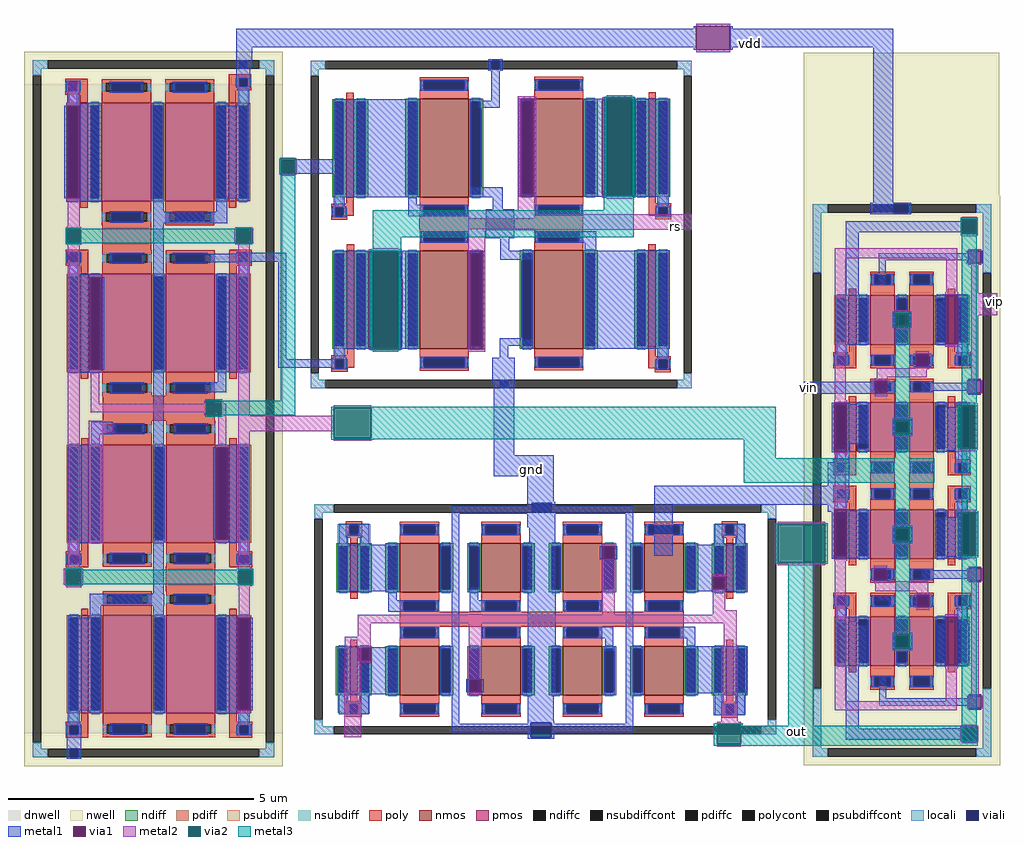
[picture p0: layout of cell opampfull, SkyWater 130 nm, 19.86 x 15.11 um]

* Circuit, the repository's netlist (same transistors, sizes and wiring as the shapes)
** sch_path: /home/deboradmk/opamp/mag/opampfull.sch
.subckt opampfull VDD VIN VIP OUT RS GND
*.PININFO VDD:B VIN:B VIP:B OUT:B RS:B GND:B
x1 VDD net3 net1 net2 pmoscs
x2 net2 net1 RS GND nmoscs
x3 VDD net3 VIN VIP OUT net4 pmoscs2
x4 OUT net4 GND nmoscs2
.ends

* expanding   symbol:  pmoscs.sym # of pins=4
** sym_path: /home/deboradmk/opamp/mag/pmoscs.sym
** sch_path: /home/deboradmk/opamp/mag/pmoscs.sch
.subckt pmoscs VDD D5 D1 D2
*.PININFO VDD:B D5:B D2:B D1:B
XM1 D1 D2 VDD VDD sky130_fd_pr__pfet_01v8 L=1 W=2 nf=1 m=2
XM2 D2 D2 VDD VDD sky130_fd_pr__pfet_01v8 L=1 W=2 nf=1 m=2
XM5 D5 D2 VDD VDD sky130_fd_pr__pfet_01v8 L=1 W=2 nf=1 m=2
XM3 VDD VDD VDD VDD sky130_fd_pr__pfet_01v8 L=1 W=2 nf=1 m=2
XM4 VDD VDD VDD VDD sky130_fd_pr__pfet_01v8 L=0.15 W=2 nf=1 m=2
XM6 D2 D2 D2 VDD sky130_fd_pr__pfet_01v8 L=0.15 W=2 nf=1 m=2
XM7 D1 D1 D1 VDD sky130_fd_pr__pfet_01v8 L=0.15 W=2 nf=1 m=2
XM8 D5 D5 D5 VDD sky130_fd_pr__pfet_01v8 L=0.15 W=2 nf=1 m=2
.ends


* expanding   symbol:  nmoscs.sym # of pins=4
** sym_path: /home/deboradmk/opamp/mag/nmoscs.sym
** sch_path: /home/deboradmk/opamp/mag/nmoscs.sch
.subckt nmoscs D4 D3 RS GND
*.PININFO RS:B D4:B D3:B GND:B
XM3 D3 D3 GND GND sky130_fd_pr__nfet_01v8 L=1 W=2 nf=1 m=2
XM4 D4 D3 RS GND sky130_fd_pr__nfet_01v8 L=1 W=2 nf=1 m=2
XM1 D3 D3 D3 GND sky130_fd_pr__nfet_01v8 L=0.15 W=2 nf=1 m=2
XM2 D4 D4 D4 GND sky130_fd_pr__nfet_01v8 L=0.15 W=2 nf=1 m=2
.ends


* expanding   symbol:  pmoscs2.sym # of pins=6
** sym_path: /home/deboradmk/opamp/mag/pmoscs2.sym
** sch_path: /home/deboradmk/opamp/mag/pmoscs2.sch
.subckt pmoscs2 VDD D5 VIN VIP OUT D6
*.PININFO VIN:I VIP:I D5:B VDD:B D6:B OUT:B
XM6 D6 VIN D5 VDD sky130_fd_pr__pfet_01v8 L=0.5 W=1 nf=1 m=4
XM7 OUT VIP D5 VDD sky130_fd_pr__pfet_01v8 L=0.5 W=1 nf=1 m=4
XM1 D6 D6 D6 VDD sky130_fd_pr__pfet_01v8 L=0.15 W=1 nf=1 m=4
XM2 OUT OUT OUT VDD sky130_fd_pr__pfet_01v8 L=0.15 W=1 nf=1 m=4
.ends


* expanding   symbol:  nmoscs2.sym # of pins=3
** sym_path: /home/deboradmk/opamp/mag/nmoscs2.sym
** sch_path: /home/deboradmk/opamp/mag/nmoscs2.sch
.subckt nmoscs2 D9 D8 GND
*.PININFO GND:B D9:B D8:B
XM8 D8 D8 GND GND sky130_fd_pr__nfet_01v8 L=0.8 W=1 nf=1 m=4
XM9 D9 D8 GND GND sky130_fd_pr__nfet_01v8 L=0.8 W=1 nf=1 m=4
XM1 D8 D8 D8 GND sky130_fd_pr__nfet_01v8 L=0.15 W=1 nf=1 m=2
XM2 D9 D9 D9 GND sky130_fd_pr__nfet_01v8 L=0.15 W=1 nf=1 m=2
.ends

.end

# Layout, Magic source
magic
tech sky130A
magscale 1 2
<< nwell >>
rect 10244 2218 11038 5118
<< metal1 >>
rect 9795 5216 9805 5225
rect 7933 5139 9805 5216
rect 7933 5054 7999 5139
rect 9795 5130 9805 5139
rect 9944 5216 9954 5225
rect 9944 5139 10608 5216
rect 9944 5130 9954 5139
rect 7933 5052 7967 5054
rect 8114 4684 8174 4690
rect 8174 4624 8428 4684
rect 8114 4618 8174 4624
rect 10527 4467 10608 5139
rect 10560 4464 10608 4467
rect 7946 4300 8138 4303
rect 7812 4267 8138 4300
rect 7812 4264 7996 4267
rect 8104 3871 8138 4267
rect 8104 3835 8335 3871
rect 8975 3768 9067 3876
rect 8981 3479 9066 3768
rect 10244 3730 10614 3778
rect 8981 3394 9225 3479
rect 10410 3451 10429 3497
rect 9118 3187 9225 3394
rect 10340 3387 10429 3451
rect 10341 3355 10429 3387
rect 9634 3317 10429 3355
rect 9634 3278 10415 3317
rect 9140 3154 9194 3187
rect 9634 3071 9711 3278
rect 10341 3250 10415 3278
<< via1 >>
rect 9805 5130 9944 5225
rect 8114 4624 8174 4684
<< metal2 >>
rect 9805 5225 9944 5235
rect 9805 5120 9944 5130
rect 8116 4684 8172 4691
rect 8108 4624 8114 4684
rect 8174 4624 8180 4684
rect 8116 4617 8172 4624
rect 9090 4398 9788 4460
rect 10928 4049 11030 4139
rect 7803 3642 7812 3702
rect 7872 3642 7881 3702
rect 8330 3672 8484 3682
rect 7334 3604 7392 3620
rect 7334 3568 7434 3604
rect 7944 3576 8330 3640
rect 7334 3122 7392 3568
rect 8330 3538 8484 3548
rect 10138 3198 10330 3208
rect 10138 3032 10330 3042
rect 9872 2796 9970 2848
rect 8375 2610 8443 2741
rect 9918 2702 9970 2796
rect 8374 2332 8443 2610
rect 9907 2394 9975 2702
rect 9892 2384 9986 2394
rect 9892 2294 9986 2304
<< via2 >>
rect 8116 4626 8172 4682
rect 7812 3642 7872 3702
rect 8330 3548 8484 3672
rect 10138 3042 10330 3198
rect 9892 2304 9986 2384
<< metal3 >>
rect 8111 4682 8177 4687
rect 8111 4626 8116 4682
rect 8172 4626 8177 4682
rect 8111 4621 8177 4626
rect 7807 3702 7877 3707
rect 8114 3702 8174 4621
rect 8505 4444 8575 4449
rect 8505 4384 8510 4444
rect 8570 4384 8575 4444
rect 8505 4379 8575 4384
rect 7807 3642 7812 3702
rect 7872 3642 8174 3702
rect 8320 3672 10129 3677
rect 7807 3637 7877 3642
rect 8320 3548 8330 3672
rect 8484 3548 10129 3672
rect 8320 3544 10129 3548
rect 8320 3543 8494 3544
rect 10000 3468 10129 3544
rect 9999 3367 10775 3468
rect 10128 3198 10340 3203
rect 10128 3042 10138 3198
rect 10330 3042 10340 3198
rect 10128 3037 10340 3042
rect 9882 2387 9996 2389
rect 9877 2384 9996 2387
rect 9877 2304 9892 2384
rect 9986 2378 9996 2384
rect 10181 2378 10285 3037
rect 9986 2304 10952 2378
rect 9877 2297 10952 2304
use nmoscs2  nmoscs2_0
transform 1 0 8541 0 1 2415
box -290 -89 1590 876
use nmoscs  nmoscs_0
transform 1 0 8622 0 1 3824
box -386 -78 1166 1266
use pmoscs2  pmoscs2_0
transform 1 0 10420 0 1 2522
box -176 -305 622 2014
use pmoscs  pmoscs_0
transform 1 0 7256 0 1 3509
box -186 -1295 868 1613
<< labels >>
flabel metal1 10025 5154 10025 5154 0 FreeSans 1120 0 0 0 vdd
port 0 nsew
flabel metal2 11019 4107 11019 4107 0 FreeSans 1120 0 0 0 vip
port 1 nsew
flabel metal2 9723 4411 9723 4411 0 FreeSans 1120 0 0 0 rs
port 2 nsew
flabel metal1 10263 3755 10263 3755 0 FreeSans 1120 0 0 0 vin
port 3 nsew
flabel metal3 10214 2354 10214 2354 0 FreeSans 1120 0 0 0 out
port 4 nsew
flabel metal1 9137 3420 9137 3420 0 FreeSans 1120 0 0 0 gnd
port 5 nsew
<< end >>

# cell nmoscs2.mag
magic
tech sky130A
magscale 1 2
<< psubdiff >>
rect -290 831 -211 865
rect 1530 831 1590 865
rect -290 805 -256 831
rect 1556 805 1590 831
rect -290 -38 -256 -12
rect 1556 -38 1590 -12
rect -290 -72 -211 -38
rect 1530 -72 1590 -38
<< psubdiffcont >>
rect -211 831 1530 865
rect -290 -12 -256 805
rect 1556 -12 1590 805
rect -211 -72 1530 -38
<< poly >>
rect -161 779 -95 795
rect -161 745 -145 779
rect -111 745 -95 779
rect -161 729 -95 745
rect 1368 779 1434 795
rect 1368 745 1384 779
rect 1418 745 1434 779
rect 1368 729 1434 745
rect 1386 706 1416 729
rect 58 366 1214 428
rect -144 66 -114 106
rect -162 50 -96 66
rect 1386 62 1416 88
rect -162 16 -146 50
rect -112 16 -96 50
rect -162 0 -96 16
rect 1368 46 1434 62
rect 1368 12 1384 46
rect 1418 12 1434 46
rect 1368 -4 1434 12
<< polycont >>
rect -145 745 -111 779
rect 1384 745 1418 779
rect -146 16 -112 50
rect 1384 12 1418 46
<< locali >>
rect -290 831 -211 865
rect 1530 831 1590 865
rect -290 805 -256 831
rect 1556 805 1590 831
rect -194 782 -152 784
rect -104 782 -62 784
rect -194 779 -62 782
rect -194 745 -145 779
rect -111 745 -62 779
rect -194 734 -62 745
rect -194 690 -152 734
rect -104 690 -62 734
rect 1336 779 1466 784
rect 1336 745 1384 779
rect 1418 745 1466 779
rect 1336 736 1466 745
rect 1336 690 1378 736
rect 1424 690 1466 736
rect -194 64 -152 110
rect -106 64 -64 106
rect -194 50 -64 64
rect -194 16 -146 50
rect -112 16 -64 50
rect -106 12 -64 16
rect 1334 54 1376 100
rect 1424 54 1466 102
rect 1334 46 1466 54
rect 1334 12 1384 46
rect 1418 12 1466 46
rect 1334 8 1466 12
rect 1334 6 1438 8
rect -290 -38 -256 -12
rect 1556 -38 1590 -12
rect -290 -72 -211 -38
rect 1530 -72 1590 -38
<< viali >>
rect 595 865 676 870
rect 595 832 676 865
rect -145 745 -111 779
rect 1384 745 1418 779
rect -146 16 -112 50
rect 1384 12 1418 46
rect 591 -38 674 -25
rect 591 -72 674 -38
rect 591 -83 674 -72
<< metal1 >>
rect 583 870 690 876
rect 583 859 595 870
rect 270 832 595 859
rect 676 859 690 870
rect 676 832 1008 859
rect 270 826 1008 832
rect -189 779 -67 785
rect -189 745 -145 779
rect -111 745 -67 779
rect -189 739 -67 745
rect -189 700 -155 739
rect -101 700 -67 739
rect -194 510 52 700
rect 12 474 46 510
rect 12 428 74 474
rect -102 282 -68 292
rect -194 281 52 282
rect -194 229 -112 281
rect -60 229 52 281
rect -194 92 52 229
rect -190 56 -156 92
rect -102 56 -68 92
rect -190 50 -68 56
rect -190 16 -146 50
rect -112 16 -68 50
rect -190 10 -68 16
rect 270 -29 300 826
rect 585 706 690 826
rect 344 474 378 525
rect 344 428 406 474
rect 328 100 338 152
rect 390 100 400 152
rect 579 100 693 706
rect 872 642 882 694
rect 934 642 944 694
rect 865 320 928 366
rect 894 268 928 320
rect 579 -19 685 100
rect 579 -25 686 -19
rect 579 -29 591 -25
rect 270 -62 591 -29
rect 579 -83 591 -62
rect 674 -29 686 -25
rect 977 -28 1008 826
rect 1340 779 1462 785
rect 1340 745 1384 779
rect 1418 745 1462 779
rect 1340 739 1462 745
rect 1340 706 1374 739
rect 1428 706 1462 739
rect 1220 570 1466 700
rect 1220 518 1331 570
rect 1383 518 1466 570
rect 1220 510 1466 518
rect 1340 502 1374 510
rect 1197 320 1260 366
rect 1226 286 1260 320
rect 1224 96 1470 286
rect 1340 52 1374 88
rect 1428 52 1462 88
rect 1340 46 1462 52
rect 1340 12 1384 46
rect 1418 12 1462 46
rect 1340 6 1462 12
rect 969 -29 1008 -28
rect 674 -62 1008 -29
rect 674 -83 686 -62
rect 579 -89 686 -83
<< via1 >>
rect -112 229 -60 281
rect 338 100 390 152
rect 882 642 934 694
rect 1331 518 1383 570
<< metal2 >>
rect 882 694 934 704
rect 339 416 391 417
rect 882 416 934 642
rect 1331 570 1383 580
rect 1331 416 1383 518
rect -112 381 1383 416
rect -112 281 -60 381
rect -112 219 -60 229
rect 339 162 391 381
rect 338 153 391 162
rect 338 152 390 153
rect 338 90 390 100
use sky130_fd_pr__nfet_01v8_6H9P4D  sky130_fd_pr__nfet_01v8_6H9P4D_0
transform 1 0 1401 0 1 188
box -73 -126 73 126
use sky130_fd_pr__nfet_01v8_6H9P4D  sky130_fd_pr__nfet_01v8_6H9P4D_1
transform 1 0 -129 0 1 188
box -73 -126 73 126
use sky130_fd_pr__nfet_01v8_6H9P4D  sky130_fd_pr__nfet_01v8_6H9P4D_2
transform 1 0 -128 0 1 606
box -73 -126 73 126
use sky130_fd_pr__nfet_01v8_6H9P4D  sky130_fd_pr__nfet_01v8_6H9P4D_3
transform 1 0 1401 0 1 606
box -73 -126 73 126
use sky130_fd_pr__nfet_01v8_C77M8X  sky130_fd_pr__nfet_01v8_C77M8X_0
transform 1 0 636 0 1 397
box -636 -397 636 397
<< labels >>
flabel space 137 611 137 611 0 FreeSans 320 0 0 0 m8
flabel space 471 600 471 602 0 FreeSans 320 0 0 0 m8
flabel space 788 599 788 599 0 FreeSans 320 0 0 0 m9
flabel space 1124 605 1124 605 0 FreeSans 320 0 0 0 m9
flabel space 137 196 137 196 0 FreeSans 320 0 0 0 m9
flabel space 464 184 464 184 0 FreeSans 320 0 0 0 m9
flabel space 802 180 802 180 0 FreeSans 320 0 0 0 m8
flabel space 1136 182 1136 182 0 FreeSans 320 0 0 0 m8
flabel metal1 25 607 25 607 0 FreeSans 320 0 0 0 d8
flabel space 364 607 364 607 0 FreeSans 320 0 0 0 d8
flabel space 577 603 577 603 0 FreeSans 320 0 0 0 s
flabel metal1 690 603 690 603 0 FreeSans 320 0 0 0 s
flabel space 1027 603 1027 603 0 FreeSans 320 0 0 0 s
flabel space 244 605 244 605 0 FreeSans 320 0 0 0 s
flabel metal1 1244 601 1244 601 0 FreeSans 320 0 0 0 d9
flabel metal1 23 188 23 188 0 FreeSans 320 0 0 0 d9
flabel space 915 184 915 184 0 FreeSans 320 0 0 0 d8
flabel space 1025 184 1025 184 0 FreeSans 320 0 0 0 s
flabel space 575 186 575 186 0 FreeSans 320 0 0 0 s
flabel metal1 690 184 690 184 0 FreeSans 320 0 0 0 s
flabel space 248 186 248 186 0 FreeSans 320 0 0 0 s
flabel metal1 1243 187 1243 187 0 FreeSans 320 0 0 0 d8
flabel metal1 1297 210 1297 210 0 FreeSans 1120 0 0 0 d8
port 1 nsew
flabel metal1 1295 609 1295 609 0 FreeSans 1120 0 0 0 d9
port 2 nsew
flabel metal1 638 761 638 761 0 FreeSans 1120 0 0 0 gnd
port 4 nsew
flabel metal2 360 188 360 188 0 FreeSans 320 0 0 0 d9
<< end >>

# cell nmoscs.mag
magic
tech sky130A
magscale 1 2
<< psubdiff >>
rect -386 1226 -326 1260
rect 1106 1226 1166 1260
rect -386 1200 -352 1226
rect 1132 1200 1166 1226
rect -386 -38 -352 -12
rect 1132 -38 1166 -12
rect -386 -72 -326 -38
rect 1106 -72 1166 -38
<< psubdiffcont >>
rect -326 1226 1106 1260
rect -386 -12 -352 1200
rect 1132 -12 1166 1200
rect -326 -72 1106 -38
<< poly >>
rect -240 679 -210 705
rect -302 663 -210 679
rect -302 629 -286 663
rect -252 629 -210 663
rect 990 681 1020 707
rect 990 665 1082 681
rect 990 631 1032 665
rect 1066 631 1082 665
rect -302 613 -236 629
rect 57 576 724 619
rect 1016 615 1082 631
rect -239 62 -209 88
rect -301 46 -209 62
rect -301 12 -285 46
rect -251 12 -209 46
rect 989 59 1019 101
rect 989 43 1081 59
rect -301 -4 -235 12
rect 989 9 1031 43
rect 1065 9 1081 43
rect 1015 -7 1081 9
<< polycont >>
rect -286 629 -252 663
rect 1032 631 1066 665
rect -285 12 -251 46
rect 1031 9 1065 43
<< locali >>
rect -386 1226 -326 1260
rect 1106 1226 1166 1260
rect -386 1200 -352 1226
rect 1132 1200 1166 1226
rect -286 663 -252 722
rect 1032 665 1066 723
rect -302 629 -286 663
rect -252 629 -236 663
rect 1016 631 1032 665
rect 1066 631 1082 665
rect 1032 630 1066 631
rect -285 46 -251 104
rect -301 12 -285 46
rect -251 12 -235 46
rect 1031 43 1065 106
rect 1015 9 1031 43
rect 1065 9 1081 43
rect -386 -38 -352 -12
rect 1132 -38 1166 -12
rect -386 -72 -326 -38
rect 1106 -72 1166 -38
<< viali >>
rect 350 1226 384 1260
rect -286 629 -252 663
rect 1032 631 1066 665
rect -285 12 -251 46
rect 1031 9 1065 43
rect 384 -72 418 -38
<< metal1 >>
rect 338 1260 396 1266
rect 338 1226 350 1260
rect 384 1226 396 1260
rect 338 1220 396 1226
rect -292 706 52 1105
rect 350 1097 384 1220
rect 297 1069 384 1097
rect -292 669 -246 706
rect 12 674 46 706
rect 264 705 396 746
rect 459 707 469 1107
rect 523 707 533 1107
rect 730 1103 1074 1106
rect 730 714 802 1103
rect 936 714 1074 1103
rect 730 707 1074 714
rect -298 663 -240 669
rect -298 629 -286 663
rect -252 629 -240 663
rect -298 623 -240 629
rect 12 628 74 674
rect 355 656 396 705
rect 1026 671 1072 707
rect 1020 665 1078 671
rect 328 538 444 656
rect 1020 631 1032 665
rect 1066 631 1078 665
rect 1020 625 1078 631
rect 386 487 423 538
rect 702 521 776 567
rect 730 488 776 521
rect -291 484 53 487
rect -291 95 -148 484
rect -14 375 53 484
rect -13 242 53 375
rect -14 95 53 242
rect -291 88 53 95
rect -291 52 -245 88
rect 252 87 262 487
rect 316 87 326 487
rect 386 450 518 487
rect 384 128 477 131
rect 384 101 512 128
rect -297 46 -239 52
rect -297 12 -285 46
rect -251 12 -239 46
rect -297 6 -239 12
rect 384 -32 418 101
rect 730 89 1074 488
rect 1025 49 1071 89
rect 1019 43 1077 49
rect 1019 9 1031 43
rect 1065 9 1077 43
rect 1019 3 1077 9
rect 372 -38 430 -32
rect 372 -72 384 -38
rect 418 -72 430 -38
rect 372 -78 430 -72
<< via1 >>
rect 469 707 523 1107
rect 802 714 936 1103
rect -148 375 -14 484
rect -148 242 -13 375
rect -148 95 -14 242
rect 262 87 316 487
<< metal2 >>
rect 458 1114 523 1117
rect 458 1107 533 1114
rect 819 1113 923 1120
rect 458 707 469 1107
rect 523 707 533 1107
rect 458 652 533 707
rect 802 1110 936 1113
rect 802 1103 819 1110
rect 923 1103 936 1110
rect 802 710 819 714
rect 923 710 936 714
rect 802 704 936 710
rect 819 700 923 704
rect 255 570 534 652
rect -132 494 -28 497
rect -148 487 -14 494
rect -148 484 -132 487
rect -28 484 -14 487
rect 256 487 326 570
rect -14 375 -13 385
rect -14 232 -13 242
rect -148 87 -132 95
rect -28 87 -14 95
rect -148 85 -14 87
rect 256 87 262 487
rect 316 87 326 487
rect -132 77 -28 85
rect 256 79 326 87
rect 262 77 326 79
<< via2 >>
rect 819 1103 923 1110
rect 819 714 923 1103
rect 819 710 923 714
rect -132 484 -28 487
rect -132 95 -28 484
rect -132 87 -28 95
<< metal3 >>
rect 809 1110 933 1115
rect 809 732 819 1110
rect 808 710 819 732
rect 923 710 933 1110
rect 808 705 933 710
rect 808 653 930 705
rect -133 543 930 653
rect -133 492 -17 543
rect -142 487 -17 492
rect -142 87 -132 487
rect -28 468 -17 487
rect -28 87 -18 468
rect -142 82 -18 87
use sky130_fd_pr__nfet_01v8_4HFSKE  sky130_fd_pr__nfet_01v8_4HFSKE_0
transform 1 0 -225 0 1 905
box -73 -226 73 226
use sky130_fd_pr__nfet_01v8_4HFSKE  sky130_fd_pr__nfet_01v8_4HFSKE_1
transform 1 0 1005 0 1 907
box -73 -226 73 226
use sky130_fd_pr__nfet_01v8_4HFSKE  sky130_fd_pr__nfet_01v8_4HFSKE_2
transform 1 0 1004 0 1 289
box -73 -226 73 226
use sky130_fd_pr__nfet_01v8_4HFSKE  sky130_fd_pr__nfet_01v8_4HFSKE_3
transform 1 0 -224 0 1 288
box -73 -226 73 226
use sky130_fd_pr__nfet_01v8_ZY4669  sky130_fd_pr__nfet_01v8_ZY4669_0
transform 1 0 624 0 1 598
box -158 -597 158 597
use sky130_fd_pr__nfet_01v8_ZY4669  sky130_fd_pr__nfet_01v8_ZY4669_1
transform 1 0 158 0 1 597
box -158 -597 158 597
<< labels >>
flabel metal1 364 1173 364 1173 0 FreeSans 800 0 0 0 GND
port 0 nsew
flabel metal1 27 684 27 684 0 FreeSans 800 0 0 0 D3
port 1 nsew
flabel metal3 859 659 859 659 0 FreeSans 800 0 0 0 D4
port 3 nsew
flabel metal2 498 678 498 678 0 FreeSans 800 0 0 0 RS
port 5 nsew
<< end >>

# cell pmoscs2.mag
magic
tech sky130A
magscale 1 2
<< nwell >>
rect -176 -305 622 2014
<< pmos >>
rect 410 1408 440 1410
rect 410 972 440 974
<< pdiff >>
rect 401 1408 410 1410
rect 440 1408 498 1410
rect 404 972 410 974
rect 440 972 498 974
<< nsubdiff >>
rect -140 1944 -80 1978
rect 526 1944 586 1978
rect -140 1701 -106 1944
rect 552 1701 586 1944
rect -140 -235 -106 7
rect 552 -235 586 7
rect -140 -269 -80 -235
rect 526 -269 586 -235
<< nsubdiffcont >>
rect -80 1944 526 1978
rect -140 7 -106 1701
rect 552 7 586 1701
rect -80 -269 526 -235
<< poly >>
rect 6 1377 36 1408
rect -56 1361 36 1377
rect -56 1327 -40 1361
rect -6 1327 36 1361
rect -56 1311 36 1327
rect 410 1377 440 1408
rect 410 1361 502 1377
rect 410 1327 452 1361
rect 486 1327 502 1361
rect 410 1311 502 1327
rect 6 941 36 970
rect -56 925 36 941
rect -56 891 -40 925
rect -6 891 36 925
rect 410 941 440 972
rect 410 925 502 941
rect -56 875 36 891
rect -56 817 36 833
rect 94 817 194 891
rect 253 818 353 892
rect 410 891 452 925
rect 486 891 502 925
rect 410 875 502 891
rect 410 817 502 833
rect -56 783 -40 817
rect -6 783 36 817
rect -56 767 36 783
rect 6 736 36 767
rect 410 783 452 817
rect 486 783 502 817
rect 410 767 502 783
rect 410 736 440 767
rect -56 382 36 398
rect -56 348 -40 382
rect -6 348 36 382
rect -56 332 36 348
rect 6 279 36 332
rect 410 381 502 397
rect 410 347 452 381
rect 486 347 502 381
rect 410 331 502 347
rect 410 279 440 331
<< polycont >>
rect -40 1327 -6 1361
rect 452 1327 486 1361
rect -40 891 -6 925
rect 452 891 486 925
rect -40 783 -6 817
rect 452 783 486 817
rect -40 348 -6 382
rect 452 347 486 381
<< locali >>
rect -140 1944 -80 1978
rect 526 1944 586 1978
rect -140 1701 -106 1944
rect 552 1701 586 1944
rect 452 1569 486 1610
rect -40 1406 -6 1408
rect -41 1361 -6 1406
rect 48 1404 49 1408
rect 452 1406 486 1410
rect 452 1361 487 1406
rect -56 1327 -40 1361
rect -6 1327 10 1361
rect 436 1327 452 1361
rect 486 1327 502 1361
rect 452 1134 486 1170
rect -40 970 -6 997
rect -41 925 -6 970
rect 48 969 54 971
rect 452 970 486 974
rect 452 925 487 970
rect -56 891 -40 925
rect -6 891 10 925
rect 436 891 452 925
rect 486 891 502 925
rect -56 783 -40 817
rect -6 783 10 817
rect 436 783 452 817
rect 486 783 502 817
rect -41 700 -6 783
rect 452 736 486 783
rect -56 348 -40 382
rect -6 348 10 382
rect -40 277 -6 348
rect 436 347 452 381
rect 486 347 502 381
rect 452 256 486 347
rect -140 -235 -106 7
rect 552 -235 586 7
rect -140 -269 -80 -235
rect 526 -269 586 -235
<< viali >>
rect 106 1978 248 1979
rect 106 1944 248 1978
rect -40 1327 -6 1361
rect 452 1327 486 1361
rect -40 891 -6 925
rect 452 891 486 925
rect -40 783 -6 817
rect 452 783 486 817
rect -40 348 -6 382
rect 452 347 486 381
<< metal1 >>
rect 94 1979 260 1985
rect 94 1944 106 1979
rect 248 1944 260 1979
rect 94 1938 260 1944
rect 471 1914 523 1920
rect -5 1865 471 1910
rect -5 1607 47 1865
rect 471 1856 523 1862
rect 487 1779 493 1790
rect 129 1750 493 1779
rect 129 1657 158 1750
rect 487 1738 493 1750
rect 545 1738 551 1790
rect -45 1586 82 1607
rect -46 1426 82 1586
rect 390 1584 400 1610
rect 187 1483 197 1535
rect 249 1483 259 1535
rect -45 1408 82 1426
rect 366 1424 400 1584
rect 390 1409 400 1424
rect 452 1563 493 1610
rect 452 1424 492 1563
rect 452 1410 462 1424
rect 452 1409 493 1410
rect 401 1408 404 1409
rect -47 1407 82 1408
rect -47 1367 0 1407
rect -52 1361 6 1367
rect -52 1327 -40 1361
rect -6 1327 6 1361
rect -52 1321 6 1327
rect 270 1318 280 1370
rect 332 1318 342 1370
rect 446 1367 493 1409
rect 440 1361 498 1367
rect 440 1327 452 1361
rect 486 1327 498 1361
rect 440 1321 498 1327
rect 492 1262 544 1268
rect 102 1208 112 1260
rect 164 1208 174 1260
rect 302 1219 492 1253
rect 492 1204 544 1210
rect -62 970 -52 1171
rect 0 1164 10 1171
rect 0 1004 84 1164
rect 453 1159 463 1161
rect 445 1152 463 1159
rect 185 1042 195 1102
rect 255 1042 265 1102
rect 370 1064 463 1152
rect 0 970 10 1004
rect 362 984 463 1064
rect 522 984 532 1161
rect 362 976 500 984
rect -47 931 0 970
rect -52 925 6 931
rect -52 891 -40 925
rect -6 891 6 925
rect -52 885 6 891
rect 440 925 500 976
rect 440 891 452 925
rect 486 910 500 925
rect 486 891 498 910
rect 440 885 498 891
rect -52 817 6 823
rect -52 783 -40 817
rect -6 783 6 817
rect -52 777 6 783
rect 440 817 498 823
rect 440 783 452 817
rect 486 783 498 817
rect 440 777 498 783
rect -47 738 0 777
rect -62 537 -52 738
rect 0 732 10 738
rect 445 736 491 777
rect 0 538 80 732
rect 455 723 465 725
rect 450 704 465 723
rect 185 605 195 665
rect 255 605 265 665
rect 360 548 465 704
rect 524 548 534 725
rect 360 544 486 548
rect 0 537 10 538
rect 494 498 546 504
rect 100 446 110 498
rect 162 446 172 498
rect 303 455 494 489
rect 494 440 546 446
rect -52 382 6 388
rect -52 348 -40 382
rect -6 348 6 382
rect 118 367 194 381
rect -52 342 6 348
rect 169 347 194 367
rect -47 301 -1 342
rect 273 338 283 390
rect 335 338 345 390
rect 440 381 498 387
rect 440 347 452 381
rect 486 347 498 381
rect 440 341 498 347
rect 445 301 491 341
rect -47 264 47 301
rect 389 272 399 301
rect -47 259 78 264
rect -30 104 78 259
rect 185 169 195 229
rect 255 169 265 229
rect 368 112 399 272
rect -5 -155 47 104
rect 389 100 399 112
rect 451 272 491 301
rect 451 112 494 272
rect 451 100 461 112
rect 130 -32 160 53
rect 494 -21 546 -15
rect 130 -62 494 -32
rect 494 -79 546 -73
rect 467 -147 527 -141
rect 384 -155 467 -154
rect -5 -200 467 -155
rect -5 -201 47 -200
rect 467 -213 527 -207
<< via1 >>
rect 471 1862 523 1914
rect 493 1738 545 1790
rect 197 1483 249 1535
rect 400 1409 452 1610
rect 280 1318 332 1370
rect 112 1208 164 1260
rect 492 1210 544 1262
rect -52 970 0 1171
rect 195 1042 255 1102
rect 463 984 522 1161
rect -52 537 0 738
rect 195 605 255 665
rect 465 548 524 725
rect 110 446 162 498
rect 494 446 546 498
rect 283 338 335 390
rect 195 169 255 229
rect 399 100 451 301
rect 494 -73 546 -21
rect 467 -207 527 -147
<< metal2 >>
rect 467 1918 527 1927
rect 465 1862 467 1914
rect 527 1862 529 1914
rect 467 1849 527 1858
rect -51 1759 448 1799
rect -51 1702 -6 1759
rect -51 1181 -5 1702
rect 403 1620 448 1759
rect 493 1790 545 1796
rect 493 1732 545 1738
rect 400 1610 452 1620
rect 195 1537 251 1547
rect 195 1471 251 1481
rect 400 1399 452 1409
rect 280 1370 332 1380
rect 280 1311 332 1318
rect 120 1308 332 1311
rect 120 1275 323 1308
rect 120 1270 164 1275
rect 112 1260 164 1270
rect 504 1262 533 1732
rect 486 1210 492 1262
rect 544 1210 550 1262
rect 112 1198 164 1208
rect -52 1171 0 1181
rect 463 1161 522 1171
rect 195 1102 255 1112
rect 195 1032 255 1042
rect 463 974 522 984
rect -52 960 0 970
rect -51 748 -5 960
rect -52 738 0 748
rect 465 725 524 735
rect 195 665 255 675
rect 195 595 255 605
rect 465 538 524 548
rect -52 527 0 537
rect -51 -43 -5 527
rect 110 498 162 508
rect 488 446 494 498
rect 546 446 552 498
rect 110 445 162 446
rect 110 436 330 445
rect 115 404 330 436
rect 283 400 330 404
rect 283 390 335 400
rect 283 328 335 338
rect 399 301 451 311
rect 195 229 255 239
rect 195 159 255 169
rect 399 90 451 100
rect 401 -43 446 90
rect 505 -21 535 446
rect -51 -81 447 -43
rect 488 -73 494 -21
rect 546 -73 552 -21
rect 469 -147 525 -140
rect 461 -207 467 -147
rect 527 -207 533 -147
rect 469 -214 525 -207
<< via2 >>
rect 467 1914 527 1918
rect 467 1862 471 1914
rect 471 1862 523 1914
rect 523 1862 527 1914
rect 467 1858 527 1862
rect 195 1535 251 1537
rect 195 1483 197 1535
rect 197 1483 249 1535
rect 249 1483 251 1535
rect 195 1481 251 1483
rect 195 1042 255 1102
rect 463 984 522 1161
rect 195 605 255 665
rect 465 548 524 725
rect 195 169 255 229
rect 469 -205 525 -149
<< metal3 >>
rect 462 1918 532 1923
rect 462 1858 467 1918
rect 527 1858 532 1918
rect 462 1853 532 1858
rect 185 1537 261 1542
rect 185 1481 195 1537
rect 251 1481 261 1537
rect 185 1476 261 1481
rect 195 1107 255 1476
rect 467 1166 527 1853
rect 453 1161 532 1166
rect 185 1102 265 1107
rect 185 1042 195 1102
rect 255 1042 265 1102
rect 185 1037 265 1042
rect 195 670 255 1037
rect 453 984 463 1161
rect 522 984 532 1161
rect 453 979 532 984
rect 467 730 527 979
rect 455 725 534 730
rect 185 665 265 670
rect 185 605 195 665
rect 255 605 265 665
rect 185 600 265 605
rect 195 234 255 600
rect 455 548 465 725
rect 524 548 534 725
rect 455 543 534 548
rect 185 229 265 234
rect 185 169 195 229
rect 255 169 265 229
rect 185 164 265 169
rect 467 -144 527 543
rect 464 -149 530 -144
rect 464 -205 469 -149
rect 525 -205 530 -149
rect 464 -210 530 -205
use sky130_fd_pr__pfet_01v8_2XUZHN  sky130_fd_pr__pfet_01v8_2XUZHN_0
transform 1 0 425 0 1 200
box -109 -162 109 162
use sky130_fd_pr__pfet_01v8_2XUZHN  sky130_fd_pr__pfet_01v8_2XUZHN_1
transform 1 0 21 0 1 200
box -109 -162 109 162
use sky130_fd_pr__pfet_01v8_2XUZHN  sky130_fd_pr__pfet_01v8_2XUZHN_2
transform 1 0 21 0 1 636
box -109 -162 109 162
use sky130_fd_pr__pfet_01v8_2XUZHN  sky130_fd_pr__pfet_01v8_2XUZHN_3
transform 1 0 21 0 1 1072
box -109 -162 109 162
use sky130_fd_pr__pfet_01v8_2XUZHN  sky130_fd_pr__pfet_01v8_2XUZHN_4
transform 1 0 21 0 1 1508
box -109 -162 109 162
use sky130_fd_pr__pfet_01v8_2XUZHN  sky130_fd_pr__pfet_01v8_2XUZHN_5
transform 1 0 425 0 1 1508
box -109 -162 109 162
use sky130_fd_pr__pfet_01v8_2XUZHN  sky130_fd_pr__pfet_01v8_2XUZHN_6
transform 1 0 425 0 1 1072
box -109 -162 109 162
use sky130_fd_pr__pfet_01v8_2XUZHN  sky130_fd_pr__pfet_01v8_2XUZHN_7
transform 1 0 425 0 1 636
box -109 -162 109 162
use sky130_fd_pr__pfet_01v8_BHV229  sky130_fd_pr__pfet_01v8_BHV229_0
transform 1 0 223 0 1 854
box -223 -854 223 854
<< labels >>
flabel viali 198 1958 198 1958 0 FreeSans 800 0 0 0 VDD
port 0 nsew
flabel metal2 -30 1770 -30 1770 0 FreeSans 800 0 0 0 D6
port 4 nsew
flabel metal1 383 1236 383 1236 0 FreeSans 800 0 0 0 VIP
port 12 nsew
flabel metal2 149 418 149 418 0 FreeSans 800 0 0 0 VIN
port 14 nsew
flabel metal1 404 -176 406 -176 0 FreeSans 800 0 0 0 OUT
port 16 nsew
flabel metal3 222 1356 222 1356 0 FreeSans 800 0 0 0 D5
port 18 nsew
<< end >>

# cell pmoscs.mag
magic
tech sky130A
magscale 1 2
<< dnwell >>
rect -186 -1162 868 1480
<< nwell >>
rect -186 -1295 868 1613
<< nsubdiff >>
rect -150 1543 -90 1577
rect 772 1543 832 1577
rect -150 1517 -116 1543
rect 798 1517 832 1543
rect -150 -1225 -116 -1199
rect 798 -1225 832 -1199
rect -150 -1259 -90 -1225
rect 772 -1259 832 -1225
<< nsubdiffcont >>
rect -90 1543 772 1577
rect -150 -1199 -116 1517
rect 798 -1199 832 1517
rect -90 -1259 772 -1225
<< poly >>
rect 647 1505 739 1520
rect -19 1488 73 1503
rect -19 1454 -3 1488
rect 31 1454 73 1488
rect -19 1438 73 1454
rect 43 1404 73 1438
rect 647 1471 689 1505
rect 723 1471 739 1505
rect 647 1455 739 1471
rect 647 1404 677 1455
rect -17 792 75 807
rect 133 804 331 909
rect -17 758 -1 792
rect 33 758 75 792
rect -17 742 75 758
rect 45 708 75 742
rect 649 792 741 807
rect 649 758 691 792
rect 725 758 741 792
rect 649 742 741 758
rect 649 708 679 742
rect 134 111 591 213
rect 46 -420 76 -386
rect -16 -436 76 -420
rect -16 -470 0 -436
rect 34 -470 76 -436
rect -16 -485 76 -470
rect 650 -420 680 -386
rect 650 -436 742 -420
rect 650 -470 692 -436
rect 726 -470 742 -436
rect 391 -584 592 -482
rect 650 -485 742 -470
rect 46 -1115 76 -1084
rect -16 -1131 76 -1115
rect -16 -1165 0 -1131
rect 34 -1165 76 -1131
rect -16 -1180 76 -1165
rect 650 -1114 680 -1080
rect 650 -1130 742 -1114
rect 650 -1164 692 -1130
rect 726 -1164 742 -1130
rect 650 -1179 742 -1164
<< polycont >>
rect -3 1454 31 1488
rect 689 1471 723 1505
rect -1 758 33 792
rect 691 758 725 792
rect 0 -470 34 -436
rect 692 -470 726 -436
rect 0 -1165 34 -1131
rect 692 -1164 726 -1130
<< locali >>
rect -150 1543 -90 1577
rect 772 1543 832 1577
rect -150 1517 -116 1543
rect 798 1517 832 1543
rect -19 1454 -3 1488
rect 31 1454 47 1488
rect 673 1471 689 1505
rect 723 1471 739 1505
rect -4 1403 31 1454
rect -3 1400 31 1403
rect 689 1388 724 1471
rect -17 758 -1 792
rect 33 758 49 792
rect 675 758 691 792
rect 725 758 741 792
rect -2 711 33 758
rect -1 708 33 711
rect 691 711 726 758
rect 691 708 725 711
rect 0 -389 34 -386
rect -1 -436 34 -389
rect 692 -389 726 -386
rect 692 -436 727 -389
rect -16 -470 0 -436
rect 34 -470 50 -436
rect 676 -470 692 -436
rect 726 -470 742 -436
rect 0 -1084 34 -1068
rect -1 -1131 34 -1084
rect 692 -1083 726 -1080
rect 692 -1130 727 -1083
rect -16 -1165 0 -1131
rect 34 -1165 50 -1131
rect 676 -1164 692 -1130
rect 726 -1164 742 -1130
rect -150 -1225 -116 -1199
rect 798 -1225 832 -1199
rect -150 -1259 -90 -1225
rect 772 -1259 832 -1225
<< viali >>
rect 689 1543 723 1577
rect -3 1454 31 1488
rect 689 1471 723 1505
rect -1 758 33 792
rect 691 758 725 792
rect 0 -470 34 -436
rect 692 -470 726 -436
rect 0 -1165 34 -1131
rect 692 -1164 726 -1130
rect 0 -1259 34 -1225
<< metal1 >>
rect 677 1577 735 1583
rect 677 1543 689 1577
rect 723 1543 735 1577
rect 678 1505 735 1543
rect -15 1488 43 1494
rect -15 1454 -3 1488
rect 31 1454 43 1488
rect 677 1471 689 1505
rect 723 1471 735 1505
rect 677 1465 735 1471
rect -15 1448 43 1454
rect -10 1403 37 1448
rect -14 1393 130 1403
rect -22 1016 -12 1393
rect 40 1016 130 1393
rect -14 1002 130 1016
rect 340 962 383 1404
rect 683 1400 730 1465
rect 684 1392 726 1400
rect 601 1380 726 1392
rect 601 1016 723 1380
rect 596 962 641 1010
rect 340 914 641 962
rect -13 792 45 798
rect -13 758 -1 792
rect 33 758 45 792
rect -13 752 45 758
rect -8 708 39 752
rect -6 706 41 708
rect -6 700 129 706
rect -7 695 129 700
rect -7 319 79 695
rect 131 319 141 695
rect -7 306 129 319
rect 88 101 175 106
rect 88 95 190 101
rect 87 55 190 95
rect 87 14 122 55
rect -6 -386 130 14
rect -7 -387 99 -386
rect -7 -430 40 -387
rect -12 -436 46 -430
rect -12 -470 0 -436
rect 34 -470 46 -436
rect -12 -476 46 -470
rect 340 -593 383 914
rect 679 792 737 798
rect 679 758 691 792
rect 725 758 737 792
rect 679 752 737 758
rect 685 708 732 752
rect 596 308 732 708
rect 603 267 638 308
rect 556 227 638 267
rect 597 2 733 14
rect 584 -374 594 2
rect 646 -374 733 2
rect 597 -386 733 -374
rect 686 -430 733 -386
rect 680 -436 738 -430
rect 680 -470 692 -436
rect 726 -470 738 -436
rect 680 -476 738 -470
rect 82 -598 383 -593
rect 82 -642 384 -598
rect 82 -683 128 -642
rect 0 -1068 122 -692
rect 340 -1080 383 -642
rect 598 -691 734 -681
rect 598 -1068 683 -691
rect 735 -1068 745 -691
rect 598 -1080 734 -1068
rect -7 -1125 40 -1080
rect 598 -1081 733 -1080
rect 686 -1124 733 -1081
rect -12 -1131 46 -1125
rect -12 -1165 0 -1131
rect 34 -1165 46 -1131
rect -12 -1225 46 -1165
rect 680 -1130 738 -1124
rect 680 -1164 692 -1130
rect 726 -1164 738 -1130
rect 680 -1170 738 -1164
rect -12 -1259 0 -1225
rect 34 -1259 46 -1225
rect -12 -1265 46 -1259
<< via1 >>
rect -12 1016 40 1393
rect 79 319 131 695
rect 594 -374 646 2
rect 683 -1068 735 -691
<< metal2 >>
rect -8 1403 40 1489
rect -12 1393 40 1403
rect -12 1006 40 1016
rect -8 900 40 1006
rect -12 891 44 900
rect 685 893 733 894
rect -12 826 44 835
rect 669 833 678 893
rect 738 833 747 893
rect -8 -487 40 826
rect 79 695 131 705
rect 79 309 131 319
rect 85 180 120 309
rect 85 153 638 180
rect 86 146 638 153
rect 604 12 638 146
rect 594 2 646 12
rect 594 -384 646 -374
rect -15 -492 47 -487
rect 685 -488 733 833
rect -25 -495 55 -492
rect -25 -555 -14 -495
rect 46 -555 55 -495
rect -25 -557 55 -555
rect 685 -497 741 -488
rect -15 -566 47 -557
rect 685 -562 741 -553
rect 687 -681 732 -562
rect 683 -691 735 -681
rect 683 -1078 735 -1068
rect 687 -1080 732 -1078
<< via2 >>
rect -12 835 44 891
rect 678 833 738 893
rect -14 -555 46 -495
rect 685 -553 741 -497
<< metal3 >>
rect -17 893 49 896
rect 673 893 743 898
rect -17 891 678 893
rect -17 835 -12 891
rect 44 835 678 891
rect -17 833 678 835
rect 738 833 743 893
rect -17 830 49 833
rect 673 828 743 833
rect -19 -495 51 -490
rect 680 -495 746 -492
rect -19 -555 -14 -495
rect 46 -497 746 -495
rect 46 -553 685 -497
rect 741 -553 746 -497
rect 46 -555 746 -553
rect -19 -560 51 -555
rect 680 -558 746 -555
use sky130_fd_pr__pfet_01v8_2ZH9AN  sky130_fd_pr__pfet_01v8_2ZH9AN_0
transform 1 0 665 0 1 -880
box -109 -262 109 262
use sky130_fd_pr__pfet_01v8_2ZH9AN  sky130_fd_pr__pfet_01v8_2ZH9AN_1
transform 1 0 60 0 1 508
box -109 -262 109 262
use sky130_fd_pr__pfet_01v8_2ZH9AN  sky130_fd_pr__pfet_01v8_2ZH9AN_2
transform 1 0 61 0 1 -880
box -109 -262 109 262
use sky130_fd_pr__pfet_01v8_2ZH9AN  sky130_fd_pr__pfet_01v8_2ZH9AN_3
transform 1 0 61 0 1 -186
box -109 -262 109 262
use sky130_fd_pr__pfet_01v8_2ZH9AN  sky130_fd_pr__pfet_01v8_2ZH9AN_4
transform 1 0 665 0 1 -186
box -109 -262 109 262
use sky130_fd_pr__pfet_01v8_2ZH9AN  sky130_fd_pr__pfet_01v8_2ZH9AN_5
transform 1 0 664 0 1 508
box -109 -262 109 262
use sky130_fd_pr__pfet_01v8_2ZH9AN  sky130_fd_pr__pfet_01v8_2ZH9AN_6
transform 1 0 662 0 1 1204
box -109 -262 109 262
use sky130_fd_pr__pfet_01v8_2ZH9AN  sky130_fd_pr__pfet_01v8_2ZH9AN_7
transform 1 0 58 0 1 1204
box -109 -262 109 262
use sky130_fd_pr__pfet_01v8_SDE6B7  sky130_fd_pr__pfet_01v8_SDE6B7_0
transform 1 0 360 0 1 1204
box -323 -300 323 300
use sky130_fd_pr__pfet_01v8_SDE6B7  sky130_fd_pr__pfet_01v8_SDE6B7_1
transform 1 0 362 0 1 508
box -323 -300 323 300
use sky130_fd_pr__pfet_01v8_SDE6B7  sky130_fd_pr__pfet_01v8_SDE6B7_2
transform 1 0 363 0 1 -186
box -323 -300 323 300
use sky130_fd_pr__pfet_01v8_SDE6B7  sky130_fd_pr__pfet_01v8_SDE6B7_3
transform 1 0 363 0 1 -880
box -323 -300 323 300
<< labels >>
flabel metal1 616 248 616 248 0 FreeSans 480 0 0 0 D2
port 8 nsew
flabel metal2 101 159 101 159 0 FreeSans 480 0 0 0 D1
port 10 nsew
flabel metal2 708 102 708 102 0 FreeSans 480 0 0 0 D5
port 12 nsew
flabel metal1 709 1528 709 1528 0 FreeSans 480 0 0 0 VDD
port 14 nsew
<< end >>

# cell sky130_fd_pr__pfet_01v8_2ZH9AN: kit device sky130_fd_pr__pfet_01v8, w 2 l 0.15 m 1 nf 1 diffcov 100 polycov 100 guard 0 glc 1 grc 1 gtc 1 gbc 1 tbcov 100 rlcov 100 topc 0 botc 0 poverlap 0 doverlap 1 lmin 0.15 wmin 0.42 compatible {sky130_fd_pr__pfet_01v8 sky130_fd_pr__pfet_01v8_lvt sky130_fd_pr__pfet_01v8_hvt sky130_fd_pr__pfet_g5v0d10v5} full_metal 1 viasrc 100 viadrn 100 viagate 100 viagb 0 viagr 0 viagl 0 viagt 0

# cell sky130_fd_pr__pfet_01v8_SDE6B7: kit device sky130_fd_pr__pfet_01v8, w 2 l 1 m 1 nf 2 diffcov 100 polycov 100 guard 0 glc 1 grc 1 gtc 1 gbc 1 tbcov 100 rlcov 100 topc 1 botc 1 poverlap 0 doverlap 1 lmin 0.15 wmin 0.42 compatible {sky130_fd_pr__pfet_01v8 sky130_fd_pr__pfet_01v8_lvt sky130_fd_pr__pfet_01v8_hvt sky130_fd_pr__pfet_g5v0d10v5} full_metal 1 viasrc 100 viadrn 100 viagate 70 viagb 0 viagr 0 viagl 0 viagt 0

# cell sky130_fd_pr__pfet_01v8_2XUZHN: kit device sky130_fd_pr__pfet_01v8, w 1 l 0.15 m 1 nf 1 diffcov 100 polycov 100 guard 0 glc 1 grc 1 gtc 1 gbc 1 tbcov 100 rlcov 100 topc 0 botc 0 poverlap 0 doverlap 1 lmin 0.15 wmin 0.42 compatible {sky130_fd_pr__pfet_01v8 sky130_fd_pr__pfet_01v8_lvt sky130_fd_pr__pfet_01v8_hvt sky130_fd_pr__pfet_g5v0d10v5} full_metal 1 viasrc 100 viadrn 100 viagate 100 viagb 0 viagr 0 viagl 0 viagt 0

# cell sky130_fd_pr__pfet_01v8_BHV229: kit device sky130_fd_pr__pfet_01v8, w 1 l 0.5 m 4 nf 2 diffcov 100 polycov 100 guard 0 glc 1 grc 1 gtc 1 gbc 1 tbcov 100 rlcov 100 topc 1 botc 1 poverlap 0 doverlap 1 lmin 0.15 wmin 0.42 compatible {sky130_fd_pr__pfet_01v8 sky130_fd_pr__pfet_01v8_lvt sky130_fd_pr__pfet_01v8_hvt sky130_fd_pr__pfet_g5v0d10v5} full_metal 1 viasrc 100 viadrn 100 viagate 100 viagb 0 viagr 0 viagl 0 viagt 0

# cell sky130_fd_pr__nfet_01v8_4HFSKE: kit device sky130_fd_pr__nfet_01v8, w 2 l 0.15 m 1 nf 1 diffcov 100 polycov 100 guard 0 glc 1 grc 1 gtc 1 gbc 1 tbcov 100 rlcov 100 topc 0 botc 0 poverlap 0 doverlap 1 lmin 0.15 wmin 0.42 compatible {sky130_fd_pr__nfet_01v8 sky130_fd_pr__nfet_01v8_lvt sky130_fd_bs_flash__special_sonosfet_star sky130_fd_pr__nfet_g5v0d10v5 sky130_fd_pr__nfet_05v0_nvt sky130_fd_pr__nfet_03v3_nvt} full_metal 1 viasrc 100 viadrn 100 viagate 100 viagb 0 viagr 0 viagl 0 viagt 0

# cell sky130_fd_pr__nfet_01v8_ZY4669: kit device sky130_fd_pr__nfet_01v8, w 2 l 1 m 2 nf 1 diffcov 100 polycov 100 guard 0 glc 1 grc 1 gtc 1 gbc 1 tbcov 100 rlcov 100 topc 1 botc 1 poverlap 0 doverlap 1 lmin 0.15 wmin 0.42 compatible {sky130_fd_pr__nfet_01v8 sky130_fd_pr__nfet_01v8_lvt sky130_fd_bs_flash__special_sonosfet_star sky130_fd_pr__nfet_g5v0d10v5 sky130_fd_pr__nfet_05v0_nvt sky130_fd_pr__nfet_03v3_nvt} full_metal 1 viasrc 100 viadrn 100 viagate 100 viagb 0 viagr 0 viagl 0 viagt 0

# cell sky130_fd_pr__nfet_01v8_6H9P4D: kit device sky130_fd_pr__nfet_01v8, w 1 l 0.150 m 1 nf 1 diffcov 100 polycov 100 guard 0 glc 1 grc 1 gtc 1 gbc 1 tbcov 100 rlcov 100 topc 0 botc 0 poverlap 0 doverlap 1 lmin 0.15 wmin 0.42 compatible {sky130_fd_pr__nfet_01v8 sky130_fd_pr__nfet_01v8_lvt sky130_fd_bs_flash__special_sonosfet_star sky130_fd_pr__nfet_g5v0d10v5 sky130_fd_pr__nfet_05v0_nvt sky130_fd_pr__nfet_03v3_nvt} full_metal 1 viasrc 100 viadrn 100 viagate 100 viagb 0 viagr 0 viagl 0 viagt 0

# cell sky130_fd_pr__nfet_01v8_C77M8X: kit device sky130_fd_pr__nfet_01v8, w 1 l 0.8 m 2 nf 4 diffcov 100 polycov 100 guard 0 glc 1 grc 1 gtc 1 gbc 1 tbcov 100 rlcov 100 topc 1 botc 1 poverlap 0 doverlap 0 lmin 0.15 wmin 0.42 compatible {sky130_fd_pr__nfet_01v8 sky130_fd_pr__nfet_01v8_lvt sky130_fd_bs_flash__special_sonosfet_star sky130_fd_pr__nfet_g5v0d10v5 sky130_fd_pr__nfet_05v0_nvt sky130_fd_pr__nfet_03v3_nvt} full_metal 1 viasrc 100 viadrn 100 viagate 100 viagb 0 viagr 0 viagl 0 viagt 0
